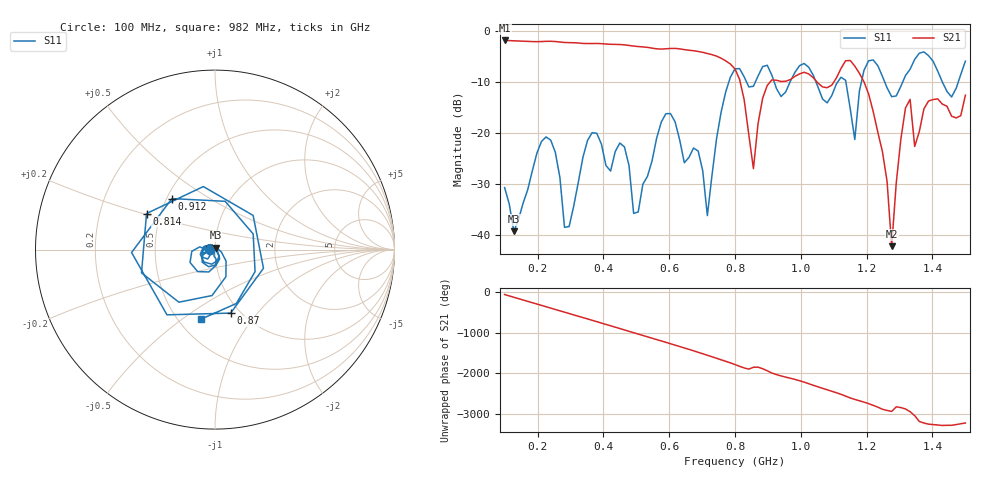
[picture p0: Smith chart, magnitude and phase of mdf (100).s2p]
! NanoVNA-App
! Date: 2025-09-26 09:40:39
! Start: 100MHz Stop: 1,5GHz Points: 101
! S-Parameter data: F S11 S21 S12 S22
# Hz S RI R 50
!  Frequency  S11_Real  S11_Imag  S21_Real  S21_Imag  S12_Real  S12_Imag  S22_Real  S22_Imag
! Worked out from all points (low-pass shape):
!   101 points, 100 MHz to 1.5 GHz, reference 50 ohm
!   highest |S21| = -1.79 dB at 100 MHz (marker M1); lowest = -42.1 dB at 1.276 GHz (marker M2)
!   |S21| within 3 dB of the highest: start of sweep to 740.7 MHz
!   lowest |S11| = -39.2 dB at 128 MHz (marker M3), VSWR 1.02, Z = 50.3 + j1.07 ohm
!   |S11| at or under -10 dB: start of sweep to 781 MHz; 1.046 GHz to 1.111 GHz (64.78 MHz wide, 6 % of centre); 1.255 GHz to 1.309 GHz (53.75 MHz wide, 4.19 % of centre)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
!   S12 and S22 are empty: the file has one direction only
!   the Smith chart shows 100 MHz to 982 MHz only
!   S11 on the Smith chart (normalised r, x): 100 MHz: 0.94, -0.01; 814 MHz: 0.42, +0.21; 870 MHz: 0.91, -0.74; 912 MHz: 0.53, +0.35; 982 MHz: 0.64, -0.59
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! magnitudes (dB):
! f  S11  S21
! 100 MHz  -30.6  -1.8
! 128 MHz  -39.2  -1.9
! 212 MHz  -21.6  -2.0
! 282 MHz  -38.4  -2.2
! 338 MHz  -24.7  -2.4
! 464 MHz  -22.6  -2.6
! 506 MHz  -35.4  -3.0
! 576 MHz  -17.8  -3.5
! 688 MHz  -23.5  -3.9
! 716 MHz  -36.1  -4.3
! 800 MHz  -7.3  -7.4
! 814 MHz  -7.3  -9.4
! 856 MHz  -10.8  -26.9
! 870 MHz  -8.8  -18.1
! 912 MHz  -8.6  -9.5
! 982 MHz  -8.0  -8.8
! 1.038 GHz  -8.6  -9.1
! 1.164 GHz  -21.2  -6.8
! 1.192 GHz  -7.6  -9.9
! 1.276 GHz  -12.8  -42.1
! 1.318 GHz  -8.7  -15.0
! 1.5 GHz  -5.8  -12.5
